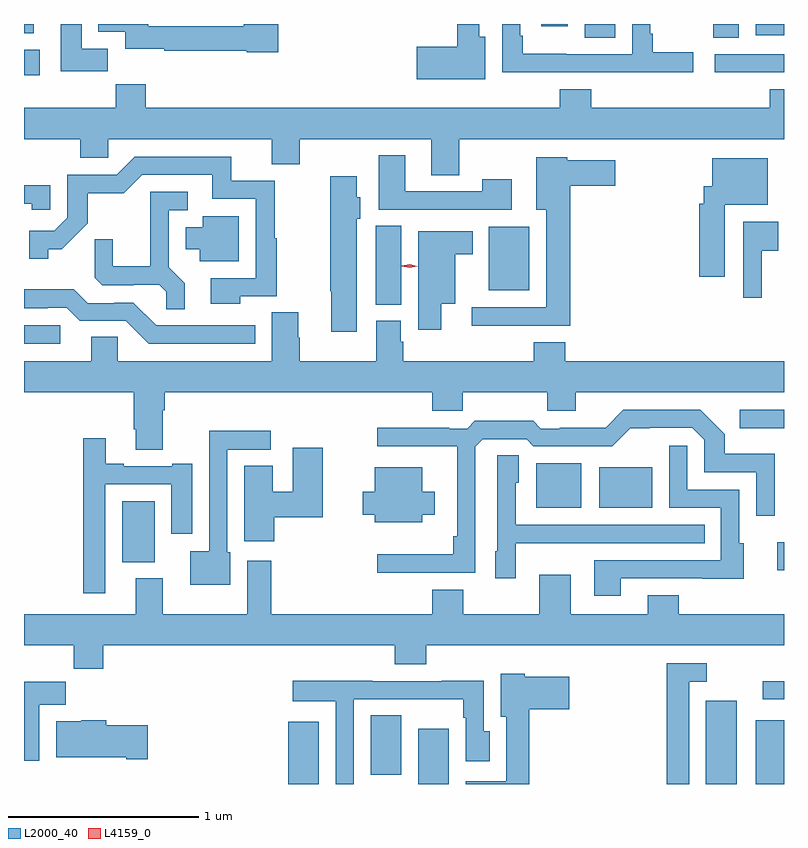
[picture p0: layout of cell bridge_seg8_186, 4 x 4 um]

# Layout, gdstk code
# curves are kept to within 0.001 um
import gdstk
lib = gdstk.Library(unit=1e-6, precision=1e-09)
def R(c, l, rs):  # rectangles x0, y0, x1, y1
    for r in rs: c.add(gdstk.rectangle(r[:2], r[2:], *l))
def P(c, l, *ps):  # polygons
    for p in ps: c.add(gdstk.Polygon(p, *l))
L2000_40 = (2000, 40)
L4159_0 = (4159, 0)

bridge_seg8_186 = lib.new_cell('bridge_seg8_186')
R(bridge_seg8_186, L2000_40, [(347.828,1098.454,347.989,1098.781), (348.512,1098.454,348.673,1098.745), (350.027,1098.454,350.188,1098.892), (350.288,1098.454,350.438,1098.79), (348.263,1098.504,348.424,1098.815), (350.325,1098.9,350.438,1098.996), (350.403,1099.578,350.438,1099.726), (346.955,1099.622,347.125,1099.942), (349.133,1099.907,349.372,1100.143), (349.466,1099.907,349.744,1100.122), (350.205,1100.327,350.438,1100.424), (346.438,1100.772,346.63,1100.868), (348.29,1100.977,348.424,1101.392), (348.884,1101.053,349.096,1101.388), (346.438,1102.184,346.522,1102.318), (350.073,1102.2,350.438,1102.296), (349.388,1102.381,349.549,1102.454), (350.066,1102.381,350.2,1102.454), (350.288,1102.394,350.438,1102.454), (346.438,1102.406,346.489,1102.454), (349.16,1102.443,349.3,1102.454)])
P(bridge_seg8_186, L2000_40, [(349.175,1102.2),(349.541,1102.2),(349.541,1102.199),(349.96,1102.199),(349.96,1102.306),(349.747,1102.306),(349.747,1102.402),(349.734,1102.402),(349.734,1102.454),(349.638,1102.454),(349.638,1102.296),(349.292,1102.296),(349.292,1102.297),(349.063,1102.297),(349.063,1102.393),(349.05,1102.393),(349.05,1102.454),(348.954,1102.454),(348.954,1102.199),(349.175,1102.199)],
  [(348.865,1102.387),(348.835,1102.387),(348.835,1102.454),(348.717,1102.454),(348.717,1102.334),(348.504,1102.334),(348.504,1102.163),(348.865,1102.163)],
  [(347.777,1102.454),(347.594,1102.454),(347.594,1102.442),(347.093,1102.442),(347.093,1102.454),(346.829,1102.454),(346.829,1102.412),(346.97,1102.412),(346.97,1102.325),(347.176,1102.325),(347.176,1102.314),(347.61,1102.314),(347.61,1102.306),(347.777,1102.306)],
  [(346.88,1102.324),(346.741,1102.324),(346.741,1102.454),(346.631,1102.454),(346.631,1102.206),(346.88,1102.206)],
  [(348.729,1101.848),(350.438,1101.848),(350.438,1102.111),(350.363,1102.111),(350.363,1102.012),(349.424,1102.012),(349.424,1102.111),(349.259,1102.111),(349.259,1102.012),(347.078,1102.012),(347.078,1102.136),(346.921,1102.136),(346.921,1102.012),(346.438,1102.012),(346.438,1101.848),(346.735,1101.848),(346.735,1101.75),(346.881,1101.75),(346.881,1101.848),(347.741,1101.848),(347.741,1101.715),(347.889,1101.715),(347.889,1101.848),(348.581,1101.848),(348.581,1101.658),(348.729,1101.658)],
  [(349.006,1101.637),(348.85,1101.637),(348.85,1101.573),(348.445,1101.573),(348.445,1101.763),(348.305,1101.763),(348.305,1101.477),(349.006,1101.477)],
  [(347.577,1101.021),(347.767,1101.021),(347.767,1101.326),(347.759,1101.326),(347.759,1101.63),(347.528,1101.63),(347.528,1101.756),(347.022,1101.756),(346.926,1101.66),(346.665,1101.66),(346.665,1101.435),(346.596,1101.366),(346.465,1101.366),(346.465,1101.219),(346.566,1101.219),(346.566,1101.269),(346.636,1101.269),(346.774,1101.406),(346.774,1101.562),(346.963,1101.562),(347.061,1101.66),(347.429,1101.66),(347.429,1101.534),(347.658,1101.534),(347.658,1101.117),(347.421,1101.117),(347.421,1100.981),(347.577,1100.981)],
  [(349.313,1101.602),(349.549,1101.602),(349.549,1101.736),(349.296,1101.736),(349.296,1101.754),(349.133,1101.754),(349.133,1101.476),(349.187,1101.476),(349.187,1100.964),(348.795,1100.964),(348.795,1100.867),(349.313,1100.867)],
  [(350.125,1101.503),(350.353,1101.503),(350.353,1101.748),(350.06,1101.748),(350.06,1101.6),(350.016,1101.6),(350.016,1101.507),(349.991,1101.507),(349.991,1101.123),(350.125,1101.123)],
  [(348.19,1101.429),(348.208,1101.429),(348.208,1101.543),(348.19,1101.543),(348.19,1101.652),(348.049,1101.652),(348.049,1101.047),(348.056,1101.047),(348.056,1100.835),(348.19,1100.835)],
  [(346.575,1101.606),(346.438,1101.606),(346.438,1101.509),(346.479,1101.509),(346.479,1101.477),(346.575,1101.477)],
  [(347.285,1101.089),(347.199,1101.175),(347.199,1101.474),(347.299,1101.474),(347.299,1101.57),(347.102,1101.57),(347.102,1101.178),(346.904,1101.178),(346.904,1101.321),(346.81,1101.321),(346.81,1101.119),(346.851,1101.078),(347.016,1101.078),(347.016,1101.081),(347.15,1101.081),(347.187,1101.044),(347.187,1100.953),(347.285,1100.953)],
  [(347.569,1101.442),(347.378,1101.442),(347.378,1101.385),(347.288,1101.385),(347.288,1101.269),(347.363,1101.269),(347.363,1101.206),(347.569,1101.206)],
  [(350.321,1101.26),(350.407,1101.26),(350.407,1101.412),(350.223,1101.412),(350.223,1101.012),(350.321,1101.012)],
  [(348.634,1100.981),(348.709,1100.981),(348.709,1101.242),(348.799,1101.242),(348.799,1101.364),(348.512,1101.364),(348.512,1100.844),(348.634,1100.844)],
  [(347.656,1100.868),(347.133,1100.868),(347.013,1100.988),(346.912,1100.988),(346.912,1100.985),(346.773,1100.985),(346.7,1101.058),(346.438,1101.058),(346.438,1100.958),(346.562,1100.958),(346.562,1100.961),(346.662,1100.961),(346.731,1100.892),(346.974,1100.892),(347.094,1100.772),(347.656,1100.772)],
  [(348.587,1100.418),(348.747,1100.418),(348.747,1100.516),(349.192,1100.516),(349.192,1100.418),(349.342,1100.418),(349.342,1100.516),(350.438,1100.516),(350.438,1100.68),(349.286,1100.68),(349.286,1100.779),(349.121,1100.779),(349.121,1100.68),(348.434,1100.68),(348.434,1100.781),(348.421,1100.781),(348.421,1100.892),(348.293,1100.892),(348.293,1100.68),(347.889,1100.68),(347.889,1100.802),(347.881,1100.802),(347.881,1100.936),(347.741,1100.936),(347.741,1100.68),(346.932,1100.68),(346.932,1100.807),(346.793,1100.807),(346.793,1100.68),(346.438,1100.68),(346.438,1100.516),(347.015,1100.516),(347.015,1100.32),(347.027,1100.32),(347.027,1100.212),(347.167,1100.212),(347.167,1100.42),(347.18,1100.42),(347.18,1100.516),(348.587,1100.516)],
  [(348.813,1100.229),(348.852,1100.268),(349.083,1100.268),(349.119,1100.232),(349.533,1100.232),(349.628,1100.327),(349.956,1100.328),(350.019,1100.265),(350.019,1100.094),(350.292,1100.094),(350.292,1099.866),(350.388,1099.866),(350.388,1100.191),(350.127,1100.191),(350.127,1100.294),(349.996,1100.424),(349.593,1100.424),(349.499,1100.33),(349.258,1100.33),(349.258,1100.325),(349.158,1100.325),(349.119,1100.365),(348.811,1100.365),(348.771,1100.325),(348.677,1100.325),(348.677,1100.33),(348.297,1100.33),(348.297,1100.232),(348.717,1100.232),(348.717,1099.759),(348.697,1099.759),(348.697,1099.663),(348.297,1099.663),(348.297,1099.566),(348.813,1099.566)],
  [(347.524,1099.674),(347.508,1099.674),(347.508,1100.214),(347.737,1100.214),(347.737,1100.312),(347.412,1100.312),(347.412,1099.678),(347.312,1099.678),(347.312,1099.502),(347.524,1099.502)],
  [(346.866,1100.031),(347.213,1100.031),(347.213,1099.77),(347.323,1099.77),(347.323,1100.14),(347.219,1100.14),(347.219,1100.127),(346.963,1100.127),(346.963,1100.14),(346.867,1100.14),(346.867,1100.275),(346.75,1100.275),(346.75,1099.458),(346.866,1099.458)],
  [(349.579,1099.536),(350.009,1099.536),(350.009,1099.535),(350.227,1099.535),(350.227,1099.722),(350.202,1099.722),(350.202,1100.004),(349.929,1100.004),(349.929,1100.233),(349.833,1100.233),(349.833,1099.908),(350.106,1099.908),(350.106,1099.632),(349.439,1099.632),(349.439,1099.446),(349.579,1099.446)],
  [(347.754,1099.859),(348.01,1099.859),(348.01,1100.224),(347.852,1100.224),(347.852,1099.993),(347.746,1099.993),(347.746,1100.129),(347.597,1100.129),(347.597,1099.731),(347.754,1099.731)],
  [(349.026,1099.721),(349.343,1099.721),(349.343,1099.722),(350.021,1099.722),(350.021,1099.818),(349.026,1099.818),(349.026,1100.04),(349.042,1100.04),(349.042,1100.183),(348.93,1100.183),(348.93,1099.68),(348.917,1099.68),(348.917,1099.536),(349.026,1099.536)],
  [(348.535,1099.871),(348.601,1099.871),(348.601,1099.993),(348.535,1099.993),(348.535,1100.122),(348.284,1100.122),(348.284,1099.993),(348.221,1099.993),(348.221,1099.871),(348.284,1099.871),(348.284,1099.832),(348.535,1099.832)],
  [(346.856,1099.184),(348.389,1099.184),(348.389,1099.085),(348.554,1099.085),(348.554,1099.184),(350.438,1099.184),(350.438,1099.348),(349.885,1099.348),(349.885,1099.447),(349.721,1099.447),(349.721,1099.348),(349.315,1099.348),(349.315,1099.555),(349.151,1099.555),(349.151,1099.348),(348.751,1099.348),(348.751,1099.477),(348.587,1099.477),(348.587,1099.348),(347.738,1099.348),(347.738,1099.63),(347.612,1099.63),(347.612,1099.348),(347.167,1099.348),(347.167,1099.537),(347.027,1099.537),(347.027,1099.348),(346.438,1099.348),(346.438,1099.184),(346.699,1099.184),(346.699,1099.06),(346.856,1099.06)],
  [(349.938,1098.993),(350.032,1098.993),(350.032,1099.089),(349.822,1099.089),(349.822,1098.454),(349.938,1098.454)],
  [(349.096,1098.848),(349.309,1098.848),(349.309,1099.018),(349.074,1099.018),(349.074,1099.033),(348.947,1099.033),(348.947,1098.809),(348.977,1098.809),(348.977,1098.468),(348.762,1098.468),(348.762,1098.454),(349.096,1098.454)],
  [(348.174,1098.9),(348.52,1098.9),(348.52,1098.899),(348.75,1098.899),(348.75,1098.803),(348.762,1098.803),(348.762,1098.573),(348.889,1098.573),(348.889,1098.732),(348.858,1098.732),(348.858,1098.998),(348.637,1098.998),(348.637,1098.996),(348.271,1098.996),(348.271,1098.998),(347.853,1098.998),(347.853,1098.89),(348.078,1098.89),(348.078,1098.454),(348.174,1098.454)],
  [(346.519,1098.872),(346.658,1098.872),(346.658,1098.991),(346.438,1098.991),(346.438,1098.576),(346.519,1098.576)],
  [(347.089,1098.762),(346.871,1098.762),(346.871,1098.79),(346.74,1098.79),(346.74,1098.784),(346.607,1098.784),(346.607,1098.596),(346.976,1098.596),(346.976,1098.584),(347.089,1098.584)])
P(bridge_seg8_186, L4159_0, [(348.467,1101.17),(348.427,1101.18),(348.426,1101.181),(348.427,1101.181),(348.467,1101.19),(348.508,1101.18),(348.508,1101.18),(348.508,1101.18)])

lib.write_gds('bridge_seg8_186.gds')
